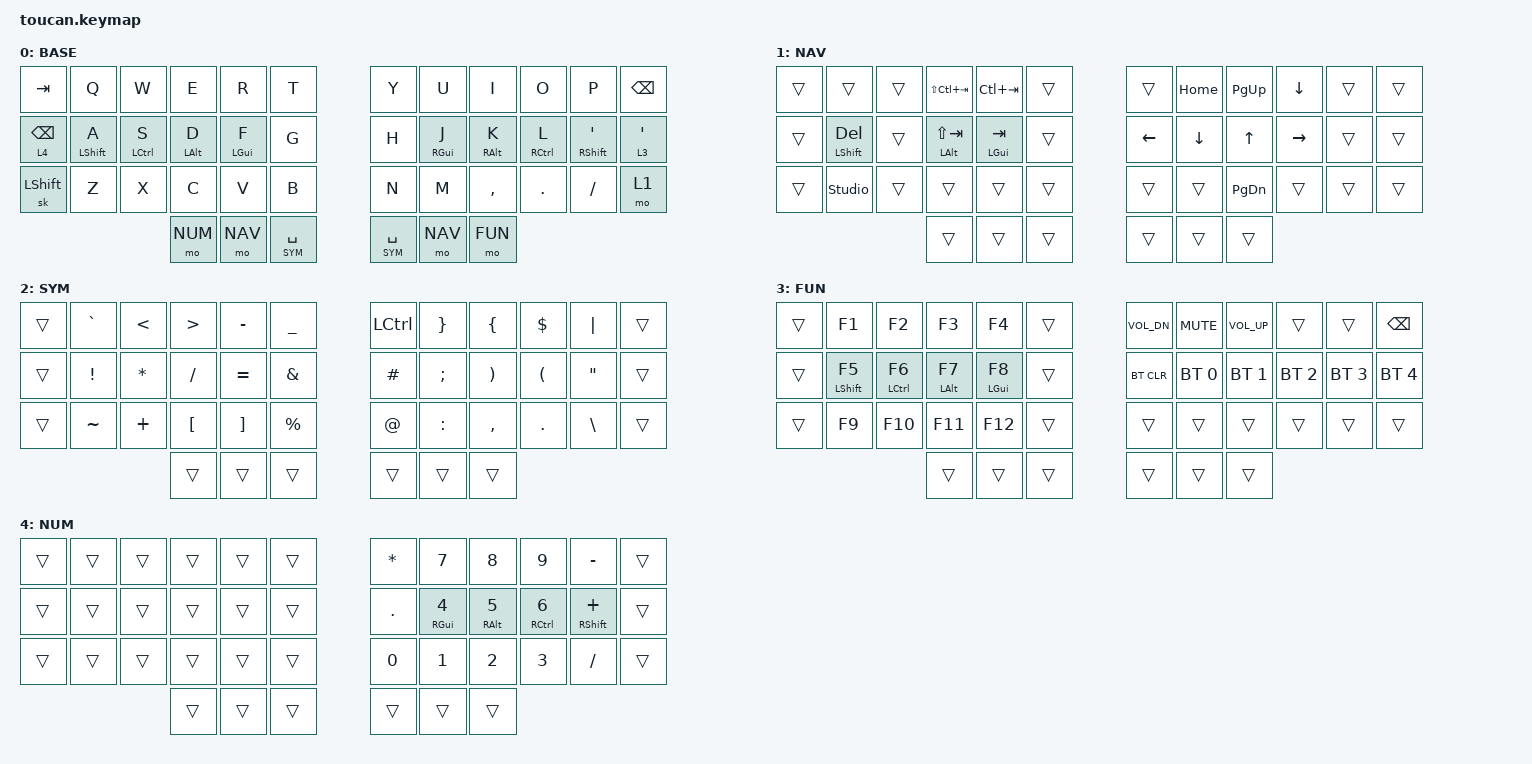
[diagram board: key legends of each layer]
#include <behaviors.dtsi>
#include <behaviors/num_word.dtsi> // Requires zmk-auto-layer module.
#include <zmk-helpers/helper.h> // Requires zmk-helpers module.
#include "zmk-helpers/key-labels/42.h"
#include <dt-bindings/zmk/bt.h>
#include <dt-bindings/zmk/keys.h>

#include <dt-bindings/zmk/bt.h>
#include <dt-bindings/zmk/outputs.h>

#define _BT_SEL_KEYS_                                                        \
    &bt BT_SEL 0 &bt BT_SEL 1 &bt BT_SEL 2 &bt BT_SEL 3 &bt BT_CLR

#define BASE 0
#define NAV  1
#define SYM  2
#define FUN  3
#define NUM  4

#define XXX &none
#define ___ &trans

/* Global defaults */

#define QUICK_TAP_MS 175

&sk {
  release-after-ms = <900>;
  quick-release;
};

&sl { // Allow sticky mods to chord across sticky layers.
  ignore-modifiers;
};

&lt {
  flavor = "balanced";
  tapping-term-ms = <200>;
  quick-tap-ms = <QUICK_TAP_MS>;
};

#include "combos.dtsi" // Must be sourced after HRM-combo hack.

/* Homerow mods */

ZMK_HOLD_TAP(hrm, bindings = <&kp>, <&kp>; flavor = "balanced";             \
             tapping-term-ms = <280>; quick-tap-ms = <QUICK_TAP_MS>;         \
             require-prior-idle-ms = <150>; hold-trigger-on-release;)

/* Keymap */

ZMK_LAYER(BASE,
//╭─────────────┬─────────────┬─────────────┬─────────────┬─────────────┬─────────────╮ ╭─────────────┬─────────────┬─────────────┬─────────────┬─────────────┬─────────────╮
    &kp TAB       &kp Q         &kp W         &kp E         &kp R         &kp T           &kp Y         &kp U         &kp I         &kp O         &kp P         &kp BSPC     
//├─────────────┼─────────────┼─────────────┼─────────────┼─────────────┼─────────────┤ ├─────────────┼─────────────┼─────────────┼─────────────┼─────────────┼─────────────┤
    &lt 4 BSPC    &hrm LSHFT A  &hrm LCTRL S  &hrm LALT D   &hrm LGUI F   &kp G           &kp H         &hrm RGUI J   &hrm RALT K   &hrm RCTRL L  &hrm RSHFT SQT &lt 3 SQT     
//├─────────────┼─────────────┼─────────────┼─────────────┼─────────────┼─────────────┤ ├─────────────┼─────────────┼─────────────┼─────────────┼─────────────┼─────────────┤
    &sk LSHFT     &kp Z         &kp X         &kp C         &kp V         &kp B           &kp N         &kp M         &kp COMMA     &kp DOT       &kp FSLH      &mo 1        
//╰─────────────┴─────────────┴─────────────┼─────────────┼─────────────┤─────────────┤ ├─────────────┼─────────────┼─────────────┼─────────────┴─────────────┴─────────────╯
                                              &mo NUM       &mo NAV       &lt SYM SPACE   &lt SYM SPACE &mo NAV       &mo FUN
//                                          ╰─────────────┴─────────────┴─────────────╯ ╰─────────────┴─────────────┴─────────────╯
)

ZMK_LAYER(NAV,
//╭─────────────┬─────────────┬─────────────┬─────────────┬─────────────┬─────────────╮ ╭─────────────┬─────────────┬─────────────┬─────────────┬─────────────┬─────────────╮
    ___           ___           ___           &kp LS(LC(TAB)) &kp LC(TAB)   ___             ___           &kp HOME       &kp PG_UP     &kp DOWN     ___           ___     
//├─────────────┼─────────────┼─────────────┼─────────────┼─────────────┼─────────────┤ ├─────────────┼─────────────┼─────────────┼─────────────┼─────────────┼─────────────┤
    ___           &hrm LSHFT DEL ___          &hrm LALT LS(TAB) &hrm LGUI TAB ___             &kp LEFT      &kp DOWN      &kp UP        &kp RIGHT     ___           ___       
//├─────────────┼─────────────┼─────────────┼─────────────┼─────────────┼─────────────┤ ├─────────────┼─────────────┼─────────────┼─────────────┼─────────────┼─────────────┤
    ___           &studio_unlock ___          ___           ___           ___             ___           ___           &kp PG_DN     ___           ___           ___       
//╰─────────────┴─────────────┴─────────────┼─────────────┼─────────────┤─────────────┤ ├─────────────┼─────────────┼─────────────┼─────────────┴─────────────┴─────────────╯
                                              ___           ___           ___             ___           ___           ___
//                                          ╰─────────────┴─────────────┴─────────────╯ ╰─────────────┴─────────────┴─────────────╯
)

ZMK_LAYER(SYM,
//╭─────────────┬─────────────┬─────────────┬─────────────┬─────────────┬─────────────╮ ╭─────────────┬─────────────┬─────────────┬─────────────┬─────────────┬─────────────╮
    ___           &kp GRAVE     &kp LESS_THAN &kp GREATER_THAN &kp MINUS  &kp UNDER       &kp LCTRL     &kp RIGHT_BRACE &kp LEFT_BRACE &kp DOLLAR  &kp PIPE      ___       
//├─────────────┼─────────────┼─────────────┼─────────────┼─────────────┼─────────────┤ ├─────────────┼─────────────┼─────────────┼─────────────┼─────────────┼─────────────┤
    ___           &kp EXCL      &kp ASTRK     &kp FSLH      &kp EQUAL     &kp AMPERSAND   &kp HASH      &kp SEMI      &kp RIGHT_PARENTHESIS &kp LEFT_PARENTHESIS &kp DOUBLE_QUOTES ___ 
//├─────────────┼─────────────┼─────────────┼─────────────┼─────────────┼─────────────┤ ├─────────────┼─────────────┼─────────────┼─────────────┼─────────────┼─────────────┤
    ___           &kp TILDE     &kp PLUS      &kp LBKT      &kp RBKT      &kp PERCENT     &kp AT_SIGN   &kp COLON     &kp COMMA     &kp DOT       &kp BSLH      ___       
//╰─────────────┴─────────────┴─────────────┼─────────────┼─────────────┤─────────────┤ ├─────────────┼─────────────┼─────────────┼─────────────┴─────────────┴─────────────╯
                                              ___           ___           ___             ___           ___           ___
//                                          ╰─────────────┴─────────────┴─────────────╯ ╰─────────────┴─────────────┴─────────────╯
)

ZMK_LAYER(FUN,
//╭─────────────┬─────────────┬─────────────┬─────────────┬─────────────┬─────────────╮ ╭─────────────┬─────────────┬─────────────┬─────────────┬─────────────┬─────────────╮
    ___           &kp F1        &kp F2        &kp F3        &kp F4        ___             &kp C_VOL_DN  &kp C_MUTE    &kp C_VOL_UP  ___           ___           &kp BSPC     
//├─────────────┼─────────────┼─────────────┼─────────────┼─────────────┼─────────────┤ ├─────────────┼─────────────┼─────────────┼─────────────┼─────────────┼─────────────┤
    ___           &hrm LSHFT F5 &hrm LCTRL F6 &hrm LALT F7  &hrm LGUI F8  ___             &bt BT_CLR    &bt BT_SEL 0  &bt BT_SEL 1  &bt BT_SEL 2  &bt BT_SEL 3  &bt BT_SEL 4       
//├─────────────┼─────────────┼─────────────┼─────────────┼─────────────┼─────────────┤ ├─────────────┼─────────────┼─────────────┼─────────────┼─────────────┼─────────────┤
    ___           &kp F9        &kp F10       &kp F11       &kp F12       ___             ___           ___           ___           ___           ___           ___       
//╰─────────────┴─────────────┴─────────────┼─────────────┼─────────────┤─────────────┤ ├─────────────┼─────────────┼─────────────┼─────────────┴─────────────┴─────────────╯
                                              ___           ___           ___             ___           ___           ___
//                                          ╰─────────────┴─────────────┴─────────────╯ ╰─────────────┴─────────────┴─────────────╯
)

ZMK_LAYER(NUM,
//╭─────────────┬─────────────┬─────────────┬─────────────┬─────────────┬─────────────╮ ╭─────────────┬─────────────┬─────────────┬─────────────┬─────────────┬─────────────╮
    ___           ___           ___           ___           ___           ___             &kp STAR      &kp N7        &kp N8        &kp N9        &kp MINUS     ___          
//├─────────────┼─────────────┼─────────────┼─────────────┼─────────────┼─────────────┤ ├─────────────┼─────────────┼─────────────┼─────────────┼─────────────┼─────────────┤
    ___           ___           ___           ___           ___           ___             &kp DOT       &hrm RGUI N4  &hrm RALT N5  &hrm RCTRL N6 &hrm RSHFT PLUS      ___          
//├─────────────┼─────────────┼─────────────┼─────────────┼─────────────┼─────────────┤ ├─────────────┼─────────────┼─────────────┼─────────────┼─────────────┼─────────────┤
    ___           ___           ___           ___           ___           ___             &kp N0        &kp N1        &kp N2        &kp N3        &kp FSLH      ___          
//╰─────────────┴─────────────┴─────────────┼─────────────┼─────────────┤─────────────┤ ├─────────────┼─────────────┼─────────────┼─────────────┴─────────────┴─────────────╯
                                              ___           ___           ___             ___           ___           ___   
//                                          ╰─────────────┴─────────────┴─────────────╯ ╰─────────────┴─────────────┴─────────────╯
)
